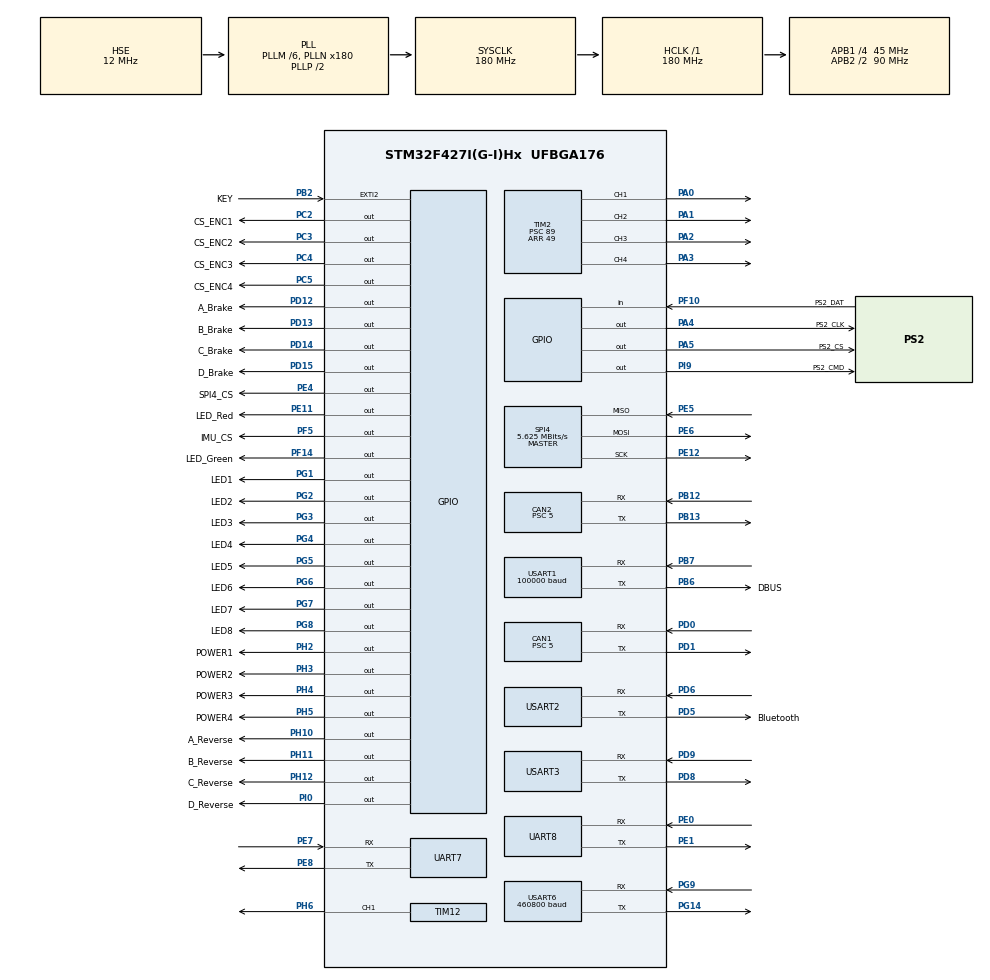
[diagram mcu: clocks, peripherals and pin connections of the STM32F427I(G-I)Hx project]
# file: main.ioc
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CAN1.BS1=CAN_BS1_3TQ
CAN1.BS2=CAN_BS2_5TQ
CAN1.CalculateBaudRate=1000000
CAN1.CalculateTimeBit=1000
CAN1.CalculateTimeQuantum=111.11111111111111
CAN1.Prescaler=5
CAN2.BS1=CAN_BS1_3TQ
CAN2.BS2=CAN_BS2_5TQ
CAN2.CalculateBaudRate=1000000
CAN2.CalculateTimeBit=1000
CAN2.CalculateTimeQuantum=111.11111111111111
CAN2.Prescaler=5
CAN2.SJW=CAN_SJW_4TQ
Dma.Request0=USART1_RX
Dma.Request1=USART2_RX
Dma.Request2=USART2_TX
Dma.Request3=USART1_TX
Dma.Request4=USART3_RX
Dma.Request5=USART3_TX
Dma.Request6=USART6_RX
Dma.Request7=USART6_TX
Dma.USART1_RX.0.Direction=DMA_PERIPH_TO_MEMORY
Dma.USART1_RX.0.FIFOMode=DMA_FIFOMODE_DISABLE
Dma.USART1_RX.0.Instance=DMA2_Stream2
Dma.USART1_RX.0.MemDataAlignment=DMA_MDATAALIGN_BYTE
Dma.USART1_RX.0.MemInc=DMA_MINC_ENABLE
Dma.USART1_RX.0.Mode=DMA_NORMAL
Dma.USART1_RX.0.PeriphDataAlignment=DMA_PDATAALIGN_BYTE
Dma.USART1_RX.0.PeriphInc=DMA_PINC_DISABLE
Dma.USART1_RX.0.Priority=DMA_PRIORITY_LOW
Dma.USART1_TX.3.Direction=DMA_MEMORY_TO_PERIPH
Dma.USART1_TX.3.FIFOMode=DMA_FIFOMODE_DISABLE
Dma.USART1_TX.3.Instance=DMA2_Stream7
Dma.USART1_TX.3.MemDataAlignment=DMA_MDATAALIGN_BYTE
Dma.USART1_TX.3.MemInc=DMA_MINC_ENABLE
Dma.USART1_TX.3.Mode=DMA_NORMAL
Dma.USART1_TX.3.PeriphDataAlignment=DMA_PDATAALIGN_BYTE
Dma.USART1_TX.3.PeriphInc=DMA_PINC_DISABLE
Dma.USART1_TX.3.Priority=DMA_PRIORITY_LOW
Dma.USART2_RX.1.Direction=DMA_PERIPH_TO_MEMORY
Dma.USART2_RX.1.FIFOMode=DMA_FIFOMODE_DISABLE
Dma.USART2_RX.1.Instance=DMA1_Stream5
Dma.USART2_RX.1.MemDataAlignment=DMA_MDATAALIGN_BYTE
Dma.USART2_RX.1.MemInc=DMA_MINC_ENABLE
Dma.USART2_RX.1.Mode=DMA_NORMAL
Dma.USART2_RX.1.PeriphDataAlignment=DMA_PDATAALIGN_BYTE
Dma.USART2_RX.1.PeriphInc=DMA_PINC_DISABLE
Dma.USART2_RX.1.Priority=DMA_PRIORITY_LOW
Dma.USART2_TX.2.Direction=DMA_MEMORY_TO_PERIPH
Dma.USART2_TX.2.FIFOMode=DMA_FIFOMODE_DISABLE
Dma.USART2_TX.2.Instance=DMA1_Stream6
Dma.USART2_TX.2.MemDataAlignment=DMA_MDATAALIGN_BYTE
Dma.USART2_TX.2.MemInc=DMA_MINC_ENABLE
Dma.USART2_TX.2.Mode=DMA_NORMAL
Dma.USART2_TX.2.PeriphDataAlignment=DMA_PDATAALIGN_BYTE
Dma.USART2_TX.2.PeriphInc=DMA_PINC_DISABLE
Dma.USART2_TX.2.Priority=DMA_PRIORITY_LOW
Dma.USART3_RX.4.Direction=DMA_PERIPH_TO_MEMORY
Dma.USART3_RX.4.FIFOMode=DMA_FIFOMODE_DISABLE
Dma.USART3_RX.4.Instance=DMA1_Stream1
Dma.USART3_RX.4.MemDataAlignment=DMA_MDATAALIGN_BYTE
Dma.USART3_RX.4.MemInc=DMA_MINC_ENABLE
Dma.USART3_RX.4.Mode=DMA_NORMAL
Dma.USART3_RX.4.PeriphDataAlignment=DMA_PDATAALIGN_BYTE
Dma.USART3_RX.4.PeriphInc=DMA_PINC_DISABLE
Dma.USART3_RX.4.Priority=DMA_PRIORITY_LOW
Dma.USART3_TX.5.Direction=DMA_MEMORY_TO_PERIPH
Dma.USART3_TX.5.FIFOMode=DMA_FIFOMODE_DISABLE
Dma.USART3_TX.5.Instance=DMA1_Stream3
Dma.USART3_TX.5.MemDataAlignment=DMA_MDATAALIGN_BYTE
Dma.USART3_TX.5.MemInc=DMA_MINC_ENABLE
Dma.USART3_TX.5.Mode=DMA_NORMAL
Dma.USART3_TX.5.PeriphDataAlignment=DMA_PDATAALIGN_BYTE
Dma.USART3_TX.5.PeriphInc=DMA_PINC_DISABLE
Dma.USART3_TX.5.Priority=DMA_PRIORITY_LOW
Dma.USART6_RX.6.Direction=DMA_PERIPH_TO_MEMORY
Dma.USART6_RX.6.FIFOMode=DMA_FIFOMODE_DISABLE
Dma.USART6_RX.6.Instance=DMA2_Stream1
Dma.USART6_RX.6.MemDataAlignment=DMA_MDATAALIGN_BYTE
Dma.USART6_RX.6.MemInc=DMA_MINC_ENABLE
Dma.USART6_RX.6.Mode=DMA_NORMAL
Dma.USART6_RX.6.PeriphDataAlignment=DMA_PDATAALIGN_BYTE
Dma.USART6_RX.6.PeriphInc=DMA_PINC_DISABLE
Dma.USART6_RX.6.Priority=DMA_PRIORITY_LOW
Dma.USART6_TX.7.Direction=DMA_MEMORY_TO_PERIPH
Dma.USART6_TX.7.FIFOMode=DMA_FIFOMODE_DISABLE
Dma.USART6_TX.7.Instance=DMA2_Stream6
Dma.USART6_TX.7.MemDataAlignment=DMA_MDATAALIGN_BYTE
Dma.USART6_TX.7.MemInc=DMA_MINC_ENABLE
Dma.USART6_TX.7.Mode=DMA_NORMAL
Dma.USART6_TX.7.PeriphDataAlignment=DMA_PDATAALIGN_BYTE
Dma.USART6_TX.7.PeriphInc=DMA_PINC_DISABLE
Dma.USART6_TX.7.Priority=DMA_PRIORITY_LOW
Mcu.Family=STM32F4
Mcu.Name=STM32F427I(G-I)Hx
Mcu.Package=UFBGA176
NVIC.CAN1_RX0_IRQn=true\:1\:0\:true\:false\:true\:true\:true\:true
NVIC.CAN1_TX_IRQn=true\:1\:0\:true\:false\:true\:true\:true\:true
NVIC.CAN2_RX0_IRQn=true\:1\:0\:true\:false\:true\:true\:true\:true
NVIC.CAN2_TX_IRQn=true\:1\:0\:true\:false\:true\:true\:true\:true
NVIC.DMA1_Stream1_IRQn=true\:4\:0\:true\:false\:true\:false\:true\:true
NVIC.DMA1_Stream3_IRQn=true\:4\:0\:true\:false\:true\:false\:true\:true
NVIC.DMA1_Stream5_IRQn=true\:4\:0\:true\:false\:true\:false\:true\:true
NVIC.DMA1_Stream6_IRQn=true\:4\:0\:true\:false\:true\:false\:true\:true
NVIC.DMA2_Stream1_IRQn=true\:0\:0\:false\:false\:true\:false\:true\:true
NVIC.DMA2_Stream2_IRQn=true\:0\:0\:false\:false\:true\:false\:true\:true
NVIC.DMA2_Stream6_IRQn=true\:0\:0\:false\:false\:true\:false\:true\:true
NVIC.DMA2_Stream7_IRQn=true\:4\:0\:true\:false\:true\:false\:true\:true
NVIC.EXTI2_IRQn=true\:0\:0\:true\:false\:true\:true\:true\:true
NVIC.PriorityGroup=NVIC_PRIORITYGROUP_4
NVIC.TIM2_IRQn=true\:0\:0\:true\:false\:true\:true\:true\:true
NVIC.TIM3_IRQn=true\:0\:0\:false\:false\:true\:true\:true\:true
NVIC.TIM5_IRQn=true\:0\:0\:false\:false\:true\:true\:true\:true
NVIC.TIM6_DAC_IRQn=true\:15\:0\:false\:false\:true\:false\:true\:true
NVIC.TimeBase=TIM6_DAC_IRQn
NVIC.TimeBaseIP=TIM6
NVIC.USART1_IRQn=true\:3\:0\:true\:false\:true\:true\:true\:true
NVIC.USART2_IRQn=true\:3\:0\:true\:false\:true\:true\:true\:true
NVIC.USART3_IRQn=true\:3\:0\:true\:false\:true\:false\:true\:true
NVIC.USART6_IRQn=true\:0\:0\:false\:false\:true\:true\:true\:true
PA0/WKUP.Signal=S_TIM2_CH1_ETR
PA1.Signal=S_TIM2_CH2
PA13.Mode=Serial_Wire
PA13.Signal=SYS_JTMS-SWDIO
PA14.Mode=Serial_Wire
PA14.Signal=SYS_JTCK-SWCLK
PA2.Signal=S_TIM2_CH3
PA3.Signal=S_TIM2_CH4
PA4.GPIO_Label=PS2_CLK
PA4.GPIO_Speed=GPIO_SPEED_FREQ_HIGH
PA4.PinState=GPIO_PIN_SET
PA4.Signal=GPIO_Output
PA5.GPIO_Label=PS2_CS
PA5.GPIO_Speed=GPIO_SPEED_FREQ_HIGH
PA5.PinState=GPIO_PIN_SET
PA5.Signal=GPIO_Output
PB12.Mode=CAN_Activate
PB12.Signal=CAN2_RX
PB13.Mode=CAN_Activate
PB13.Signal=CAN2_TX
PB2/BOOT1.GPIO_Label=KEY
PB2/BOOT1.GPIO_PuPd=GPIO_PULLDOWN
PB2/BOOT1.Signal=GPXTI2
PB6.GPIO_Label=DBUS
PB6.Mode=Asynchronous
PB6.Signal=USART1_TX
PB7.Mode=Asynchronous
PB7.Signal=USART1_RX
PC2.GPIO_Label=CS_ENC1
PC2.GPIO_Speed=GPIO_SPEED_FREQ_HIGH
PC2.PinState=GPIO_PIN_SET
PC2.Signal=GPIO_Output
PC3.GPIO_Label=CS_ENC2
PC3.GPIO_Speed=GPIO_SPEED_FREQ_HIGH
PC3.PinState=GPIO_PIN_SET
PC3.Signal=GPIO_Output
PC4.GPIO_Label=CS_ENC3
PC4.GPIO_Speed=GPIO_SPEED_FREQ_HIGH
PC4.PinState=GPIO_PIN_SET
PC4.Signal=GPIO_Output
PC5.GPIO_Label=CS_ENC4
PC5.GPIO_Speed=GPIO_SPEED_FREQ_HIGH
PC5.PinState=GPIO_PIN_SET
PC5.Signal=GPIO_Output
PD0.Mode=CAN_Activate
PD0.Signal=CAN1_RX
PD1.Mode=CAN_Activate
PD1.Signal=CAN1_TX
PD12.GPIO_Label=A_Brake
PD12.PinState=GPIO_PIN_RESET
PD12.Signal=GPIO_Output
PD13.GPIO_Label=B_Brake
PD13.PinState=GPIO_PIN_RESET
PD13.Signal=GPIO_Output
PD14.GPIO_Label=C_Brake
PD14.PinState=GPIO_PIN_RESET
PD14.Signal=GPIO_Output
PD15.GPIO_Label=D_Brake
PD15.PinState=GPIO_PIN_RESET
PD15.Signal=GPIO_Output
PD5.GPIO_Label=Bluetooth
PD5.Mode=Asynchronous
PD5.Signal=USART2_TX
PD6.Mode=Asynchronous
PD6.Signal=USART2_RX
PD8.Mode=Asynchronous
PD8.Signal=USART3_TX
PD9.Mode=Asynchronous
PD9.Signal=USART3_RX
PE0.Mode=Asynchronous
PE0.Signal=UART8_RX
PE1.Mode=Asynchronous
PE1.Signal=UART8_TX
PE11.GPIO_Label=LED_Red
PE11.PinState=GPIO_PIN_SET
PE11.Signal=GPIO_Output
PE12.Mode=Full_Duplex_Master
PE12.Signal=SPI4_SCK
PE4.GPIO_Label=SPI4_CS
PE4.GPIO_Speed=GPIO_SPEED_FREQ_HIGH
PE4.PinState=GPIO_PIN_SET
PE4.Signal=GPIO_Output
PE5.Mode=Full_Duplex_Master
PE5.Signal=SPI4_MISO
PE6.Mode=Full_Duplex_Master
PE6.Signal=SPI4_MOSI
PE7.Mode=Asynchronous
PE7.Signal=UART7_RX
PE8.Mode=Asynchronous
PE8.Signal=UART7_TX
PF10.GPIO_Label=PS2_DAT
PF10.GPIO_PuPd=GPIO_PULLUP
PF10.Signal=GPIO_Input
PF14.GPIO_Label=LED_Green
PF14.Signal=GPIO_Output
PF5.GPIO_Label=IMU_CS
PF5.PinState=GPIO_PIN_RESET
PF5.Signal=GPIO_Output
PG1.GPIO_Label=LED1
PG1.PinState=GPIO_PIN_SET
PG1.Signal=GPIO_Output
PG14.Mode=Asynchronous
PG14.Signal=USART6_TX
PG2.GPIO_Label=LED2
PG2.PinState=GPIO_PIN_SET
PG2.Signal=GPIO_Output
PG3.GPIO_Label=LED3
PG3.PinState=GPIO_PIN_SET
PG3.Signal=GPIO_Output
PG4.GPIO_Label=LED4
PG4.PinState=GPIO_PIN_SET
PG4.Signal=GPIO_Output
PG5.GPIO_Label=LED5
PG5.PinState=GPIO_PIN_SET
PG5.Signal=GPIO_Output
PG6.GPIO_Label=LED6
PG6.PinState=GPIO_PIN_SET
PG6.Signal=GPIO_Output
PG7.GPIO_Label=LED7
PG7.PinState=GPIO_PIN_SET
PG7.Signal=GPIO_Output
PG8.GPIO_Label=LED8
PG8.PinState=GPIO_PIN_SET
PG8.Signal=GPIO_Output
PG9.Mode=Asynchronous
PG9.Signal=USART6_RX
PH0/OSC_IN.Mode=HSE-External-Oscillator
PH0/OSC_IN.Signal=RCC_OSC_IN
PH1/OSC_OUT.Mode=HSE-External-Oscillator
PH1/OSC_OUT.Signal=RCC_OSC_OUT
PH10.GPIO_Label=A_Reverse
PH10.Signal=GPIO_Output
PH11.GPIO_Label=B_Reverse
PH11.Signal=GPIO_Output
PH12.GPIO_Label=C_Reverse
PH12.Signal=GPIO_Output
PH2.GPIO_Label=POWER1
PH2.PinState=GPIO_PIN_SET
PH2.Signal=GPIO_Output
PH3.GPIO_Label=POWER2
PH3.PinState=GPIO_PIN_SET
PH3.Signal=GPIO_Output
PH4.GPIO_Label=POWER3
PH4.PinState=GPIO_PIN_SET
PH4.Signal=GPIO_Output
PH5.GPIO_Label=POWER4
PH5.GPIO_Speed=GPIO_SPEED_FREQ_LOW
PH5.PinState=GPIO_PIN_SET
PH5.Signal=GPIO_Output
PH6.Signal=S_TIM12_CH1
PI0.GPIO_Label=D_Reverse
PI0.Signal=GPIO_Output
PI9.GPIO_Label=PS2_CMD
PI9.GPIO_Speed=GPIO_SPEED_FREQ_HIGH
PI9.PinState=GPIO_PIN_SET
PI9.Signal=GPIO_Output
ProjectManager.HeapSize=0x200
ProjectManager.StackSize=0x400
ProjectManager.TargetToolchain=MDK-ARM V5
RCC.48MHZClocksFreq_Value=90000000
RCC.AHBFreq_Value=180000000
RCC.APB1CLKDivider=RCC_HCLK_DIV4
RCC.APB1Freq_Value=45000000
RCC.APB1TimFreq_Value=90000000
RCC.APB2CLKDivider=RCC_HCLK_DIV2
RCC.APB2Freq_Value=90000000
RCC.APB2TimFreq_Value=180000000
RCC.CortexFreq_Value=180000000
RCC.HCLKFreq_Value=180000000
RCC.HSE_VALUE=12000000
RCC.HSI_VALUE=16000000
RCC.LSE_VALUE=32768
RCC.PLLM=6
RCC.PLLN=180
RCC.PLLSourceVirtual=RCC_PLLSOURCE_HSE
RCC.SYSCLKFreq_VALUE=180000000
RCC.SYSCLKSource=RCC_SYSCLKSOURCE_PLLCLK
RCC.VCOOutputFreq_Value=360000000
SH.S_TIM12_CH1.0=TIM12_CH1,PWM Generation1 CH1
SH.S_TIM2_CH1_ETR.0=TIM2_CH1,PWM Generation1 CH1
SH.S_TIM2_CH2.0=TIM2_CH2,PWM Generation2 CH2
SH.S_TIM2_CH3.0=TIM2_CH3,PWM Generation3 CH3
SH.S_TIM2_CH4.0=TIM2_CH4,PWM Generation4 CH4
SPI4.BaudRatePrescaler=SPI_BAUDRATEPRESCALER_16
SPI4.CLKPhase=SPI_PHASE_2EDGE
SPI4.CalculateBaudRate=5.625 MBits/s
SPI4.Direction=SPI_DIRECTION_2LINES
SPI4.Mode=SPI_MODE_MASTER
SPI4.VirtualType=VM_MASTER
TIM12.Channel-PWM\ Generation1\ CH1=TIM_CHANNEL_1
TIM12.Period=33332
TIM2.AutoReloadPreload=TIM_AUTORELOAD_PRELOAD_ENABLE
TIM2.Channel-PWM\ Generation1\ CH1=TIM_CHANNEL_1
TIM2.Channel-PWM\ Generation2\ CH2=TIM_CHANNEL_2
TIM2.Channel-PWM\ Generation3\ CH3=TIM_CHANNEL_3
TIM2.Channel-PWM\ Generation4\ CH4=TIM_CHANNEL_4
TIM2.Period=49
TIM2.Prescaler=89
TIM3.AutoReloadPreload=TIM_AUTORELOAD_PRELOAD_ENABLE
TIM3.Period=9
TIM3.Prescaler=44999
TIM5.Period=999
TIM5.Prescaler=89
UART7.VirtualMode=Asynchronous
UART8.VirtualMode=Asynchronous
USART1.BaudRate=100000
USART1.VirtualMode=VM_ASYNC
USART2.VirtualMode=VM_ASYNC
USART3.VirtualMode=VM_ASYNC
USART6.BaudRate=460800
USART6.VirtualMode=VM_ASYNC
VP_SYS_VS_tim6.Mode=TIM6
VP_TIM2_VS_ClockSourceINT.Mode=Internal
VP_TIM3_VS_ClockSourceINT.Mode=Internal
VP_TIM5_VS_ClockSourceINT.Mode=Internal
board=custom

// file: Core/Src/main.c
/* USER CODE BEGIN Header */
/**
  ******************************************************************************
  * @file           : main.c
  * @brief          : Main program body
  ******************************************************************************
  * @attention
  *
  * Copyright (c) 2026 STMicroelectronics.
  * All rights reserved.
  *
  * This software is licensed under terms that can be found in the LICENSE file
  * in the root directory of this software component.
  * If no LICENSE file comes with this software, it is provided AS-IS.
  *
  ******************************************************************************
  */
/* USER CODE END Header */
#include "main.h"
#include "can.h"
#include "dma.h"
#include "spi.h"
#include "tim.h"
#include "usart.h"
#include "gpio.h"

/* USER CODE BEGIN Includes */
#include "user_usart.h"
#include "led.h"
#include "pwm_motor.h"
#include "num_command.h"
#include "CAN_receive.h"
#include "bsp_can.h"
#include "encoder_counter.h"
#include "buzzer.h"

#include "string.h"
#include <stdio.h>
#include "ps2_handle.h"
#include "PS2.h"
#include "ps2_control.h"
#include "user_tim.h"
#include "bluetooth_motor.h"
#include "PID.h"

#include "usart6.h"
#include "analysis_data.h"
#include "spi4.h"
//双臂协同控制
#include "climb_control.h"
#include "pwm_angle_servo.h"
#include "m3508_position.h"
#include "MotorSample.h"
/* USER CODE END Includes */

void SystemClock_Config(void);

int main(void)
{

  /* MCU Configuration--------------------------------------------------------*/

  /* Reset of all peripherals, Initializes the Flash interface and the Systick. */
  HAL_Init();

  /* Configure the system clock */
  SystemClock_Config();

  /* Initialize all configured peripherals */
  MX_GPIO_Init();
  MX_DMA_Init();
  MX_TIM2_Init();
  MX_USART1_UART_Init();
  MX_CAN1_Init();
  MX_CAN2_Init();
  MX_USART2_UART_Init();
  MX_TIM3_Init();
  MX_UART7_Init();
  MX_USART3_UART_Init();
  MX_USART6_UART_Init();
  MX_UART8_Init();
  MX_TIM5_Init();
  MX_TIM12_Init();
  MX_SPI4_Init();
  /* USER CODE BEGIN 2 */
//  USART2_init();  //exit in BT
  Buzzer_Init();
  Motor_Init_All();

  can_filter_init();
  CAN_cmd_chassis(0, 0, 0, 0);
  Encoder_Counter_Init();
  PS2_Init();
  HAL_TIM_Base_Start_IT(&htim3);
  HAL_TIM_Base_Start_IT(&htim5);
  BT_Init();
  PS2_Control_Init();
  PID_Init();
  num_input = 0;
  cmd_update = 0;
  M3508_Position_Init();
  M3508_Position_Enable(0);
  /* 初始化实验状态机；收到A1/A2/A3之前不会驱动电机。 */
  MotorSample_ExperimentInit();

  PWM_AngleServo_Init();

    // imu
    IMU_USART_Init(&huart6);
    IMU_USART_StartReceive(); //

  Buzzer_StartUp_Sound();//蜂鸣器启动
  Buzzer_StartUp_Sound();
  //unusable
//  HAL_CAN_Start(&hcan1);
//  HAL_CAN_ActivateNotification(&hcan1, CAN_IT_RX_FIFO0_MSG_PENDING);

  /* USER CODE END 2 */

  /* Infinite loop */
  while (1)
  {

    /* USER CODE BEGIN 3 */

//    USART2_PrintMessage();
//设置pwm电机角度
    // if (cmd_update && PWM_AngleServo_IsEnabled())
    // {
    //     PWM_AngleServo_SetTarget(PWM_ANGLE_LEFT_YAW, num_input);
    //     cmd_update = 0;
    // }

  //设置m3508电机目标长度
    if (cmd_update)
    {
        if (M3508_Position_IsEnabled() &&
            (MotorSample_ExperimentIsRunning() == 0U))
        {
            // M3508_Position_SetTargetLengthBoth((float)num_input, (float)num_input);
            M3508_Position_SetTargetLength(M3508_POS_LEFT, (float)num_input);
        }
        cmd_update = 0;
    }
    TIM3_Task_Execute();//tim
  }
  /* USER CODE END 3 */
}

void SystemClock_Config(void)
{
  RCC_OscInitTypeDef RCC_OscInitStruct = {0};
  RCC_ClkInitTypeDef RCC_ClkInitStruct = {0};

  /** Configure the main internal regulator output voltage
  */
  __HAL_RCC_PWR_CLK_ENABLE();
  __HAL_PWR_VOLTAGESCALING_CONFIG(PWR_REGULATOR_VOLTAGE_SCALE1);

  /** Initializes the RCC Oscillators according to the specified parameters
  * in the RCC_OscInitTypeDef structure.
  */
  RCC_OscInitStruct.OscillatorType = RCC_OSCILLATORTYPE_HSE;
  RCC_OscInitStruct.HSEState = RCC_HSE_ON;
  RCC_OscInitStruct.PLL.PLLState = RCC_PLL_ON;
  RCC_OscInitStruct.PLL.PLLSource = RCC_PLLSOURCE_HSE;
  RCC_OscInitStruct.PLL.PLLM = 6;
  RCC_OscInitStruct.PLL.PLLN = 180;
  RCC_OscInitStruct.PLL.PLLP = RCC_PLLP_DIV2;
  RCC_OscInitStruct.PLL.PLLQ = 4;
  if (HAL_RCC_OscConfig(&RCC_OscInitStruct) != HAL_OK)
  {
    Error_Handler();
  }

  /** Activate the Over-Drive mode
  */
  if (HAL_PWREx_EnableOverDrive() != HAL_OK)
  {
    Error_Handler();
  }

  /** Initializes the CPU, AHB and APB buses clocks
  */
  RCC_ClkInitStruct.ClockType = RCC_CLOCKTYPE_HCLK|RCC_CLOCKTYPE_SYSCLK
                              |RCC_CLOCKTYPE_PCLK1|RCC_CLOCKTYPE_PCLK2;
  RCC_ClkInitStruct.SYSCLKSource = RCC_SYSCLKSOURCE_PLLCLK;
  RCC_ClkInitStruct.AHBCLKDivider = RCC_SYSCLK_DIV1;
  RCC_ClkInitStruct.APB1CLKDivider = RCC_HCLK_DIV4;
  RCC_ClkInitStruct.APB2CLKDivider = RCC_HCLK_DIV2;

  if (HAL_RCC_ClockConfig(&RCC_ClkInitStruct, FLASH_LATENCY_5) != HAL_OK)
  {
    Error_Handler();
  }
}

void HAL_TIM_PeriodElapsedCallback(TIM_HandleTypeDef *htim)
{
  /* USER CODE BEGIN Callback 0 */
    if (htim->Instance == TIM3)  // 5ms
    {
        TIM3_PeriodElapsed_Handler();
    }
    else if (htim->Instance == TIM6) // systick
    {
        HAL_IncTick();
    }
    else if (htim->Instance == TIM5)  // 1ms
    {
        PID_Loop_1ms();  // PID计算通常要求极高实时性，放在中断内执行是合理的
    }
  /* USER CODE END Callback 0 */

}

void Error_Handler(void)
{
  __disable_irq();
  while (1)
  {
  }
}
